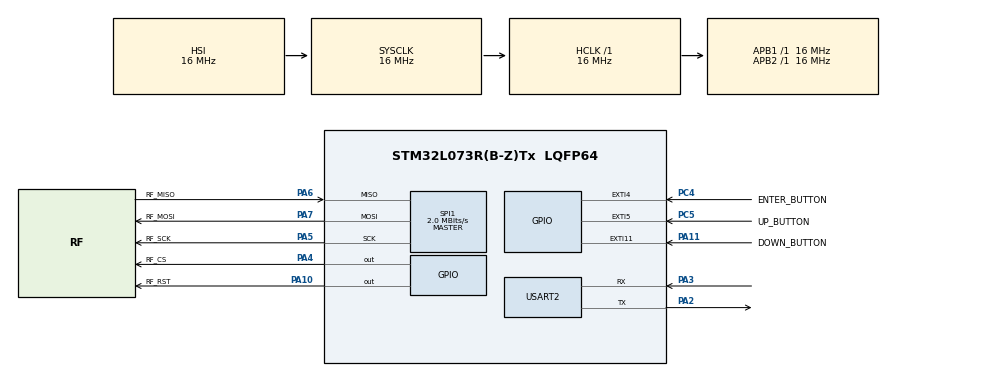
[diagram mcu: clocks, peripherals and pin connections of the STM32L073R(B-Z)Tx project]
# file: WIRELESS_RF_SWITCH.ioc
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Mcu.Family=STM32L0
Mcu.Name=STM32L073R(B-Z)Tx
Mcu.Package=LQFP64
NVIC.EXTI4_15_IRQn=true\:0\:0\:false\:false\:true\:true\:true\:true
PA10.GPIO_Label=RF_RST
PA10.Signal=GPIO_Output
PA11.GPIO_Label=DOWN_BUTTON
PA11.GPIO_ModeDefaultEXTI=GPIO_MODE_IT_FALLING
PA11.GPIO_PuPd=GPIO_PULLDOWN
PA11.Signal=GPXTI11
PA2.Mode=Asynchronous
PA2.Signal=USART2_TX
PA3.Mode=Asynchronous
PA3.Signal=USART2_RX
PA4.GPIO_Label=RF_CS
PA4.Signal=GPIO_Output
PA5.GPIO_Label=RF_SCK
PA5.Mode=Full_Duplex_Master
PA5.Signal=SPI1_SCK
PA6.GPIO_Label=RF_MISO
PA6.Mode=Full_Duplex_Master
PA6.Signal=SPI1_MISO
PA7.GPIO_Label=RF_MOSI
PA7.Mode=Full_Duplex_Master
PA7.Signal=SPI1_MOSI
PC4.GPIO_Label=ENTER_BUTTON
PC4.GPIO_ModeDefaultEXTI=GPIO_MODE_IT_RISING_FALLING
PC4.GPIO_PuPd=GPIO_PULLDOWN
PC4.Signal=GPXTI4
PC5.GPIO_Label=UP_BUTTON
PC5.GPIO_ModeDefaultEXTI=GPIO_MODE_IT_FALLING
PC5.GPIO_PuPd=GPIO_PULLDOWN
PC5.Signal=GPXTI5
ProjectManager.HeapSize=0x200
ProjectManager.StackSize=0x400
ProjectManager.TargetToolchain=STM32CubeIDE
RCC.AHBFreq_Value=16000000
RCC.APB1Freq_Value=16000000
RCC.APB1TimFreq_Value=16000000
RCC.APB2Freq_Value=16000000
RCC.APB2TimFreq_Value=16000000
RCC.HCLKFreq_Value=16000000
RCC.HSE_VALUE=8000000
RCC.HSI16_VALUE=16000000
RCC.HSI48_VALUE=48000000
RCC.HSI_VALUE=16000000
RCC.LSE_VALUE=32768
RCC.MSI_VALUE=2097000
RCC.SYSCLKFreq_VALUE=16000000
RCC.SYSCLKSource=RCC_SYSCLKSOURCE_HSI
RCC.VCOOutputFreq_Value=48000000
SPI1.BaudRatePrescaler=SPI_BAUDRATEPRESCALER_8
SPI1.CalculateBaudRate=2.0 MBits/s
SPI1.Direction=SPI_DIRECTION_2LINES
SPI1.Mode=SPI_MODE_MASTER
SPI1.VirtualType=VM_MASTER
USART2.VirtualMode-Asynchronous=VM_ASYNC
board=custom

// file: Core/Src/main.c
/* USER CODE BEGIN Header */
/**
  ******************************************************************************
  * @file           : main.c
  * @brief          : Main program body
  ******************************************************************************
  * @attention
  *
  * Copyright (c) 2025 STMicroelectronics.
  * All rights reserved.
  *
  * This software is licensed under terms that can be found in the LICENSE file
  * in the root directory of this software component.
  * If no LICENSE file comes with this software, it is provided AS-IS.
  *
  ******************************************************************************
  */
/* USER CODE END Header */
#include "main.h"

/* USER CODE BEGIN Includes */
#include <stdio.h>
#include <stdbool.h>

#include "rf_transmitter_app.h"
/* USER CODE END Includes */

/* USER CODE BEGIN PD */
#define DEBOUNCE_DELAY_MS 50
#define LONG_PRESS_TIME_MS 1000
/* USER CODE END PD */

SPI_HandleTypeDef hspi1;

UART_HandleTypeDef huart2;

/* USER CODE BEGIN PV */
volatile uint32_t last_up_press    = 0;
volatile uint32_t last_enter_press = 0;
volatile uint32_t last_down_press  = 0;

volatile uint32_t enter_press_start = 0;
volatile bool enter_short_press = false;
volatile bool enter_long_press  = false;

volatile bool up_bt_interrupt    = false;
volatile bool down_bt_interrupt  = false;
volatile bool enter_bt_interrupt = false;
/* USER CODE END PV */

void SystemClock_Config(void);
static void MX_GPIO_Init(void);
static void MX_SPI1_Init(void);
static void MX_USART2_UART_Init(void);

/* USER CODE BEGIN 0 */
#ifdef __GNUC__
#define UART_printf   int __io_putchar(int ch)
UART_printf
{
	HAL_UART_Transmit(&huart2, (uint8_t*)&ch, 1, HAL_MAX_DELAY);
	return ch;
}
#endif

//void HAL_GPIO_EXTI_Callback(uint16_t GPIO_Pin)
//{
//	if(GPIO_Pin == UP_BUTTON_Pin)
//	{
//		up_bt_interrupt = true;
//	}
//	else if(GPIO_Pin == ENTER_BUTTON_Pin)
//	{
//		enter_bt_interrupt = true;
//	}
//	else if(GPIO_Pin == DOWN_BUTTON_Pin)
//	{
//		down_bt_interrupt = true;
//	}
//}

void HAL_GPIO_EXTI_Callback(uint16_t GPIO_Pin)
{
    uint32_t now = HAL_GetTick();

    if (GPIO_Pin == UP_BUTTON_Pin)
    {
        if ((now - last_up_press) > DEBOUNCE_DELAY_MS)
        {
            up_bt_interrupt = true;
            last_up_press = now;
        }
    }
    else if (GPIO_Pin == ENTER_BUTTON_Pin)
        {
            if ((now - last_enter_press) < DEBOUNCE_DELAY_MS)
            {
                return;
            }
            last_enter_press = now;

            GPIO_PinState state = HAL_GPIO_ReadPin(ENTER_BUTTON_GPIO_Port, ENTER_BUTTON_Pin);

            if (state == GPIO_PIN_SET)
            {
                enter_press_start = now;
            }
            else
            {
                uint32_t press_duration = now - enter_press_start;

                if (press_duration >= LONG_PRESS_TIME_MS)
                {
                    enter_long_press = true;
                }
                else if (press_duration > DEBOUNCE_DELAY_MS)
                {
                    enter_short_press = true;
                }
                enter_bt_interrupt = true;
            }
        }
    else if (GPIO_Pin == DOWN_BUTTON_Pin)
    {
        if ((now - last_down_press) > DEBOUNCE_DELAY_MS)
        {
            down_bt_interrupt = true;
            last_down_press = now;
        }
    }
}

/* USER CODE END 0 */

int main(void)
{

  /* MCU Configuration--------------------------------------------------------*/

  /* Reset of all peripherals, Initializes the Flash interface and the Systick. */
  HAL_Init();

  /* Configure the system clock */
  SystemClock_Config();

  /* Initialize all configured peripherals */
  MX_GPIO_Init();
  MX_SPI1_Init();
  MX_USART2_UART_Init();

  /* Infinite loop */
  /* USER CODE BEGIN WHILE */
  while (1)
  {
	  RF69_ModuleHandler();
    /* USER CODE END WHILE */

  }
}

void SystemClock_Config(void)
{
  RCC_OscInitTypeDef RCC_OscInitStruct = {0};
  RCC_ClkInitTypeDef RCC_ClkInitStruct = {0};
  RCC_PeriphCLKInitTypeDef PeriphClkInit = {0};

  /** Configure the main internal regulator output voltage
  */
  __HAL_PWR_VOLTAGESCALING_CONFIG(PWR_REGULATOR_VOLTAGE_SCALE1);

  /** Initializes the RCC Oscillators according to the specified parameters
  * in the RCC_OscInitTypeDef structure.
  */
  RCC_OscInitStruct.OscillatorType = RCC_OSCILLATORTYPE_HSI;
  RCC_OscInitStruct.HSIState = RCC_HSI_ON;
  RCC_OscInitStruct.HSICalibrationValue = RCC_HSICALIBRATION_DEFAULT;
  RCC_OscInitStruct.PLL.PLLState = RCC_PLL_NONE;
  if (HAL_RCC_OscConfig(&RCC_OscInitStruct) != HAL_OK)
  {
    Error_Handler();
  }

  /** Initializes the CPU, AHB and APB buses clocks
  */
  RCC_ClkInitStruct.ClockType = RCC_CLOCKTYPE_HCLK|RCC_CLOCKTYPE_SYSCLK
                              |RCC_CLOCKTYPE_PCLK1|RCC_CLOCKTYPE_PCLK2;
  RCC_ClkInitStruct.SYSCLKSource = RCC_SYSCLKSOURCE_HSI;
  RCC_ClkInitStruct.AHBCLKDivider = RCC_SYSCLK_DIV1;
  RCC_ClkInitStruct.APB1CLKDivider = RCC_HCLK_DIV1;
  RCC_ClkInitStruct.APB2CLKDivider = RCC_HCLK_DIV1;

  if (HAL_RCC_ClockConfig(&RCC_ClkInitStruct, FLASH_LATENCY_0) != HAL_OK)
  {
    Error_Handler();
  }
  PeriphClkInit.PeriphClockSelection = RCC_PERIPHCLK_USART2;
  PeriphClkInit.Usart2ClockSelection = RCC_USART2CLKSOURCE_PCLK1;
  if (HAL_RCCEx_PeriphCLKConfig(&PeriphClkInit) != HAL_OK)
  {
    Error_Handler();
  }
}

static void MX_SPI1_Init(void)
{

  /* SPI1 parameter configuration*/
  hspi1.Instance = SPI1;
  hspi1.Init.Mode = SPI_MODE_MASTER;
  hspi1.Init.Direction = SPI_DIRECTION_2LINES;
  hspi1.Init.DataSize = SPI_DATASIZE_8BIT;
  hspi1.Init.CLKPolarity = SPI_POLARITY_LOW;
  hspi1.Init.CLKPhase = SPI_PHASE_1EDGE;
  hspi1.Init.NSS = SPI_NSS_SOFT;
  hspi1.Init.BaudRatePrescaler = SPI_BAUDRATEPRESCALER_8;
  hspi1.Init.FirstBit = SPI_FIRSTBIT_MSB;
  hspi1.Init.TIMode = SPI_TIMODE_DISABLE;
  hspi1.Init.CRCCalculation = SPI_CRCCALCULATION_DISABLE;
  hspi1.Init.CRCPolynomial = 7;
  if (HAL_SPI_Init(&hspi1) != HAL_OK)
  {
    Error_Handler();
  }

}

static void MX_USART2_UART_Init(void)
{

  huart2.Instance = USART2;
  huart2.Init.BaudRate = 115200;
  huart2.Init.WordLength = UART_WORDLENGTH_8B;
  huart2.Init.StopBits = UART_STOPBITS_1;
  huart2.Init.Parity = UART_PARITY_NONE;
  huart2.Init.Mode = UART_MODE_TX_RX;
  huart2.Init.HwFlowCtl = UART_HWCONTROL_NONE;
  huart2.Init.OverSampling = UART_OVERSAMPLING_16;
  huart2.Init.OneBitSampling = UART_ONE_BIT_SAMPLE_DISABLE;
  huart2.AdvancedInit.AdvFeatureInit = UART_ADVFEATURE_NO_INIT;
  if (HAL_UART_Init(&huart2) != HAL_OK)
  {
    Error_Handler();
  }

}

static void MX_GPIO_Init(void)
{
  GPIO_InitTypeDef GPIO_InitStruct = {0};

  /* GPIO Ports Clock Enable */
  __HAL_RCC_GPIOA_CLK_ENABLE();
  __HAL_RCC_GPIOC_CLK_ENABLE();

  /*Configure GPIO pin Output Level */
  HAL_GPIO_WritePin(GPIOA, RF_CS_Pin|RF_RST_Pin, GPIO_PIN_RESET);

  /*Configure GPIO pins : RF_CS_Pin RF_RST_Pin */
  GPIO_InitStruct.Pin = RF_CS_Pin|RF_RST_Pin;
  GPIO_InitStruct.Mode = GPIO_MODE_OUTPUT_PP;
  GPIO_InitStruct.Pull = GPIO_NOPULL;
  GPIO_InitStruct.Speed = GPIO_SPEED_FREQ_LOW;
  HAL_GPIO_Init(GPIOA, &GPIO_InitStruct);

  /*Configure GPIO pin : ENTER_BUTTON_Pin */
  GPIO_InitStruct.Pin = ENTER_BUTTON_Pin;
  GPIO_InitStruct.Mode = GPIO_MODE_IT_RISING_FALLING;
  GPIO_InitStruct.Pull = GPIO_PULLDOWN;
  HAL_GPIO_Init(ENTER_BUTTON_GPIO_Port, &GPIO_InitStruct);

  /*Configure GPIO pin : UP_BUTTON_Pin */
  GPIO_InitStruct.Pin = UP_BUTTON_Pin;
  GPIO_InitStruct.Mode = GPIO_MODE_IT_FALLING;
  GPIO_InitStruct.Pull = GPIO_PULLDOWN;
  HAL_GPIO_Init(UP_BUTTON_GPIO_Port, &GPIO_InitStruct);

  /*Configure GPIO pin : DOWN_BUTTON_Pin */
  GPIO_InitStruct.Pin = DOWN_BUTTON_Pin;
  GPIO_InitStruct.Mode = GPIO_MODE_IT_FALLING;
  GPIO_InitStruct.Pull = GPIO_PULLDOWN;
  HAL_GPIO_Init(DOWN_BUTTON_GPIO_Port, &GPIO_InitStruct);

  /* EXTI interrupt init*/
  HAL_NVIC_SetPriority(EXTI4_15_IRQn, 0, 0);
  HAL_NVIC_EnableIRQ(EXTI4_15_IRQn);

}

void Error_Handler(void)
{
  __disable_irq();
  while (1)
  {
  }
}
